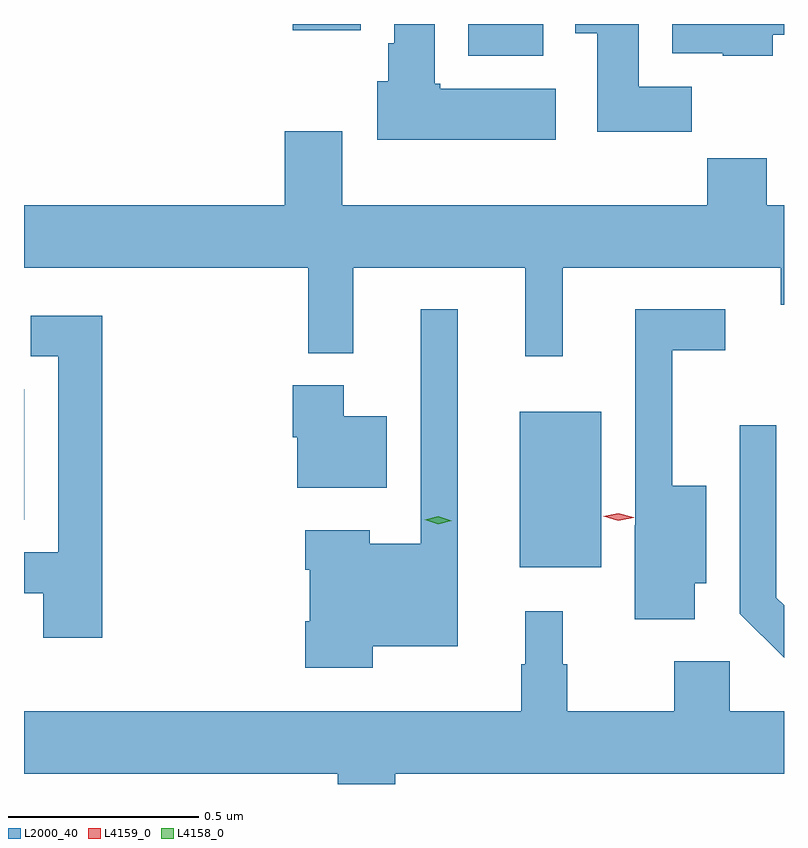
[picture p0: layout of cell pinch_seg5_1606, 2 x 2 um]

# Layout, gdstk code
import gdstk
lib = gdstk.Library(unit=1e-6, precision=1e-09)
def R(c, l, rs):  # rectangles x0, y0, x1, y1
    for r in rs: c.add(gdstk.rectangle(r[:2], r[2:], *l))
def P(c, l, *ps):  # polygons
    for p in ps: c.add(gdstk.Polygon(p, *l))
L2000_40 = (2000, 40)
L4158_0 = (4158, 0)
L4159_0 = (4159, 0)

pinch_seg5_1606 = lib.new_cell('pinch_seg5_1606')
R(pinch_seg5_1606, L2000_40, [(318.233,850.643,318.448,851.053), (316.929,850.768,316.93,851.112), (318.098,851.99,318.295,852.073), (317.636,852.056,317.815,852.073)])
P(pinch_seg5_1606, L2000_40, [(318.328,851.902),(318.024,851.902),(318.024,851.916),(318.01,851.916),(318.01,852.073),(317.903,852.073),(317.903,852.022),(317.888,852.022),(317.888,851.922),(317.858,851.922),(317.858,851.768),(318.328,851.768)],
  [(318.686,851.908),(318.547,851.908),(318.547,852.073),(318.38,852.073),(318.38,852.049),(318.437,852.049),(318.437,851.79),(318.686,851.79)],
  [(318.9,852.045),(318.929,852.045),(318.929,852.073),(318.635,852.073),(318.635,851.996),(318.768,851.996),(318.768,851.99),(318.9,851.99)],
  [(318.347,851.432),(318.92,851.432),(318.92,851.334),(318.929,851.334),(318.929,851.596),(318.884,851.596),(318.884,851.72),(318.727,851.72),(318.727,851.596),(317.767,851.596),(317.767,851.791),(317.615,851.791),(317.615,851.596),(316.929,851.596),(316.929,851.432),(317.677,851.432),(317.677,851.207),(317.795,851.207),(317.795,851.432),(318.248,851.432),(318.248,851.199),(318.347,851.199)],
  [(317.847,850.436),(318.07,850.436),(318.07,851.323),(317.973,851.323),(317.973,850.705),(317.839,850.705),(317.839,850.741),(317.669,850.741),(317.669,850.637),(317.681,850.637),(317.681,850.501),(317.669,850.501),(317.669,850.379),(317.847,850.379)],
  [(318.694,850.601),(318.724,850.601),(318.724,850.858),(318.635,850.858),(318.635,851.214),(318.775,851.214),(318.775,851.322),(318.537,851.322),(318.537,850.754),(318.536,850.754),(318.536,850.506),(318.694,850.506)],
  [(317.135,851.305),(316.947,851.305),(316.947,851.199),(317.019,851.199),(317.019,850.683),(316.929,850.683),(316.929,850.575),(316.979,850.575),(316.979,850.458),(317.135,850.458)],
  [(317.884,851.041),(317.77,851.041),(317.77,851.122),(317.636,851.122),(317.636,850.986),(317.648,850.986),(317.648,850.853),(317.884,850.853)],
  [(318.929,850.543),(318.909,850.563),(318.909,851.017),(318.813,851.017),(318.813,850.521),(318.929,850.405)],
  [(317.906,850.1),(318.929,850.1),(318.929,850.264),(318.786,850.264),(318.786,850.396),(318.64,850.396),(318.64,850.264),(318.358,850.264),(318.358,850.388),(318.347,850.388),(318.347,850.528),(318.248,850.528),(318.248,850.388),(318.237,850.388),(318.237,850.264),(316.929,850.264),(316.929,850.1),(317.754,850.1),(317.754,850.073),(317.906,850.073)])
P(pinch_seg5_1606, L4158_0, [(318.019,850.757),(317.984,850.769),(317.983,850.769),(317.984,850.769),(318.019,850.777),(318.054,850.766),(318.055,850.766),(318.054,850.766)])
P(pinch_seg5_1606, L4159_0, [(318.493,850.766),(318.453,850.777),(318.453,850.777),(318.453,850.777),(318.493,850.786),(318.533,850.775),(318.533,850.775),(318.533,850.774)])

lib.write_gds('pinch_seg5_1606.gds')
